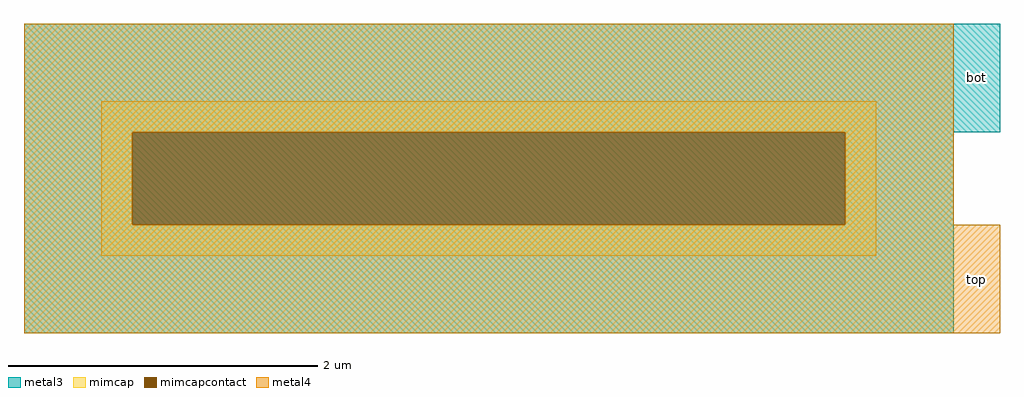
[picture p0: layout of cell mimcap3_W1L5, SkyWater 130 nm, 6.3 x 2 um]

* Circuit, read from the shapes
.subckt mimcap3_W1L5 bot top
XC1 top bot sky130_fd_pr__cap_mim_m3_1 w=5 l=1
.ends

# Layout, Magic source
magic
tech sky130B
<< metal3 >>
rect -50 530 580 600
rect -50 400 550 530
<< mimcap >>
rect 0 530 500 550
rect 0 470 20 530
rect 480 470 500 530
rect 0 450 500 470
<< mimcapcontact >>
rect 20 470 480 530
<< metal4 >>
rect -50 530 550 600
rect -50 470 20 530
rect 480 470 550 530
rect -50 400 580 470
<< labels >>
rlabel metal3 550 530 580 600 1 bot
rlabel metal4 550 400 580 470 1 top
<< end >>
